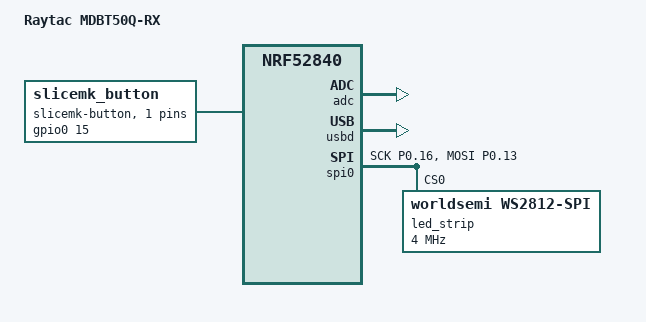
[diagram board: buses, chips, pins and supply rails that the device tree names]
/dts-v1/;
#include <nordic/nrf52840_qiaa.dtsi>

#include <dt-bindings/led/led.h>

/ {
    model = "Raytac MDBT50Q-RX";

    chosen {
        zephyr,code-partition = &code_partition;
        zephyr,sram = &sram0;
        zephyr,flash = &flash0;
        zephyr,console = &cdc_acm_uart;

        zmk,underglow = &led_strip;
    };

    // Define user button.
    slicemk_button: slicemk_button {
        compatible = "slicemk-button";
        #gpio-cells = <2>;
        gpio-map-mask = <0xffffffff 0xffffffc0>;
        gpio-map-pass-thru = <0 0x3f>;
        gpio-map = <0 0 &gpio0 15 0>;
    };
};

&adc {
    status = "okay";
};

&gpiote {
    status = "okay";
};

&gpio0 {
    status = "okay";
};

&gpio1 {
    status = "okay";
};

&uicr {
    gpio-as-nreset;
    nfct-pins-as-gpios;
};

&usbd {
    status = "okay";
    cdc_acm_uart: cdc_acm_uart {
        compatible = "zephyr,cdc-acm-uart";
    };
};

&flash0 {
    partitions {
        compatible = "fixed-partitions";
        #address-cells = <1>;
        #size-cells = <1>;

        // Application starts at 0x1000 after the MBR.
        code_partition: partition@1000 {
            reg = <0x00001000 0x000ec000>;
        };

        // Define storage partition before the bootloader, which starts at
        // 0xf4000. Only 7 pages is allocated for storage since that's the
        // default on the older Adafruit bootloader that these dongles are
        // preloaded with.
        storage_partition: partition@ed000 {
            reg = <0x000ed000 0x00007000>;
        };
    };
};

&pinctrl {
    // Define an arbitrary unused pin for SCK as it's required for SPI. Define
    // MOSI pin for LED data.
    spi0_default: spi0_default {
        group1 {
            psels =
                <NRF_PSEL(SPIM_SCK, 0, 16)>,
                <NRF_PSEL(SPIM_MOSI, 0, 13)>;
        };
    };
};

&spi0 {
    compatible = "nordic,nrf-spim";
    status = "okay";
    pinctrl-0 = <&spi0_default>;
    pinctrl-names = "default";

    led_strip: ws2812@0 {
        compatible = "worldsemi,ws2812-spi";
        reg = <0>;
        spi-max-frequency = <4000000>;
        chain-length = <1>;
        color-mapping = <LED_COLOR_ID_GREEN LED_COLOR_ID_RED LED_COLOR_ID_BLUE>;
        spi-one-frame = <0x70>;
        spi-zero-frame = <0x40>;
    };
};
